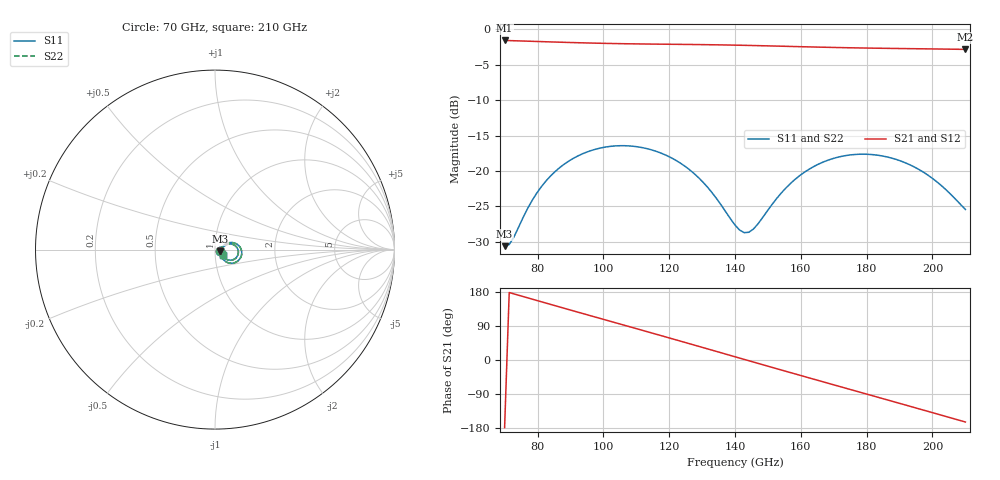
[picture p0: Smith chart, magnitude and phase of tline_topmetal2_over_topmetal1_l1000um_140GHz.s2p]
#  GHZ S DB R 50
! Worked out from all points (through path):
!   101 points, 70 GHz to 210 GHz, reference 50 ohm
!   highest |S21| = -1.58 dB at 70 GHz (marker M1); lowest = -2.8 dB at 210 GHz (marker M2)
!   group delay of S21, straight-line fit = 6.85 ps
!   lowest |S11| = -30.6 dB at 70 GHz (marker M3), VSWR 1.06, Z = 52.8 - j1.12 ohm
!   |S11| at or under -10 dB: start of sweep to end of sweep
!   |S22| runs from -30.4 to -16.4 dB; largest |S21 - S12| = 9.2e-14
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70  -30.63 -21.1  -1.58 -178.4  -1.58 -178.4  -30.44 -20.5
71.4  -30.39 -4.9  -1.60 178.0  -1.60 178.0  -30.18 -4.7
78.4  -24.14 27.5  -1.70 160.5  -1.70 160.5  -24.05 27.0
82.6  -21.40 26.5  -1.76 150.1  -1.76 150.1  -21.35 26.0
88.2  -19.02 19.7  -1.84 136.3  -1.84 136.3  -18.98 19.2
93.8  -17.55 10.6  -1.91 122.5  -1.91 122.5  -17.53 10.1
100.8  -16.62 -2.0  -1.99 105.4  -1.99 105.4  -16.60 -2.4
106.4  -16.44 -12.4  -2.04 91.7  -2.04 91.7  -16.42 -12.8
112  -16.72 -22.6  -2.07 78.0  -2.07 78.0  -16.71 -23.1
117.6  -17.50 -32.5  -2.10 64.2  -2.10 64.2  -17.49 -32.9
128.8  -20.89 -47.9  -2.16 36.4  -2.16 36.4  -20.89 -48.4
134.4  -23.90 -48.8  -2.19 22.5  -2.19 22.5  -23.92 -49.3
140  -27.64 -34.0  -2.24 8.6  -2.24 8.6  -27.68 -34.4
142.8  -28.72 -16.5  -2.26 1.6  -2.26 1.6  -28.75 -16.7
145.6  -28.21 2.4  -2.29 -5.4  -2.29 -5.4  -28.21 2.3
155.4  -22.44 22.8  -2.40 -29.7  -2.40 -29.7  -22.41 22.5
163.8  -19.41 14.8  -2.50 -50.3  -2.50 -50.3  -19.38 14.4
170.8  -18.12 4.2  -2.57 -67.5  -2.57 -67.5  -18.09 3.7
176.4  -17.68 -5.1  -2.62 -81.1  -2.62 -81.1  -17.66 -5.7
187.6  -18.19 -23.5  -2.70 -108.5  -2.70 -108.5  -18.17 -24.2
200.2  -21.13 -38.9  -2.77 -139.5  -2.77 -139.5  -21.14 -39.9
210  -25.45 -34.2  -2.84 -163.6  -2.84 -163.6  -25.58 -35.6
